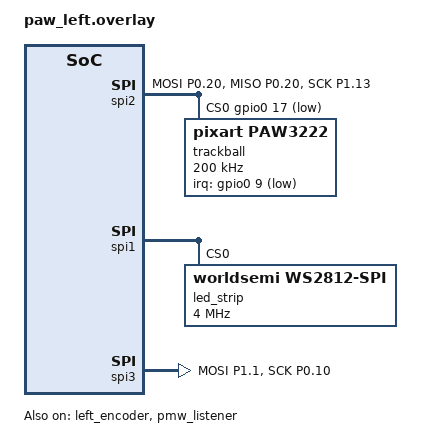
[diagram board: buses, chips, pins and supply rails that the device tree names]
/*
 * Copyright (c) 2020 ZMK Contributors
 *
 * SPDX-License-Identifier: MIT
 */
 
#include "paw.dtsi"
#include <dt-bindings/led/led.h>

/ { chosen {
	zmk,underglow = &led_strip;
};
};
&kscan0 {
	col-gpios
		= <&gpio0 22 (GPIO_ACTIVE_HIGH | GPIO_PULL_DOWN)>
		, <&gpio0 24 (GPIO_ACTIVE_HIGH | GPIO_PULL_DOWN)>
		, <&gpio1 00 (GPIO_ACTIVE_HIGH | GPIO_PULL_DOWN)>
		, <&gpio0 11 (GPIO_ACTIVE_HIGH | GPIO_PULL_DOWN)>
		, <&gpio1 04 (GPIO_ACTIVE_HIGH | GPIO_PULL_DOWN)>
		, <&gpio1 06 (GPIO_ACTIVE_HIGH | GPIO_PULL_DOWN)>
		;
};


&left_encoder {
    status = "okay";
};

&pinctrl {
    spi1_default: spi1_default {
				group1 {
						psels = <NRF_PSEL(SPIM_MOSI, 0, 21)>,
						<NRF_PSEL(SPIM_SCK, 0, 19)>;
				};
		};

    spi1_sleep: spi1_sleep {
				group1 {
						psels = <NRF_PSEL(SPIM_MOSI, 0, 21)>,
						<NRF_PSEL(SPIM_SCK, 0, 19)>;
						low-power-enable;
				};
		};
    spi2_default: spi2_default {
				group1 {
						psels = <NRF_PSEL(SPIM_MOSI, 0, 20)>,
						<NRF_PSEL(SPIM_MISO, 0, 20)>,
						<NRF_PSEL(SPIM_SCK, 1, 13)>;
				};
		};
	
    spi2_sleep: spi2_sleep {
				group1 {
						psels = <NRF_PSEL(SPIM_MOSI, 0, 20)>,
						<NRF_PSEL(SPIM_MISO, 0, 20)>,
						<NRF_PSEL(SPIM_SCK, 1, 13)>;
						low-power-enable;
				};
		};
    spi3_default: spi3_default {
				group1 {
						psels = <NRF_PSEL(SPIM_MOSI, 1, 1)>,
						<NRF_PSEL(SPIM_SCK, 0, 10)>;
				};
		};
	
    spi3_sleep: spi3_sleep {
				group1 {
						psels = <NRF_PSEL(SPIM_MOSI, 1, 1)>,
						<NRF_PSEL(SPIM_SCK, 0, 10)>;
						low-power-enable;
				};
		};
};

&spi2 {
		 status ="okay";
    compatible = "nordic,nrf-spim";
    pinctrl-0 = <&spi2_default>;
    pinctrl-1 = <&spi2_sleep>;
    pinctrl-names = "default", "sleep";
    cs-gpios = <&gpio0 17 GPIO_ACTIVE_LOW>;
		trackball: trackball@0 {
			status = "okay";
			compatible ="pixart,paw3222";
			reg = <0>;
			spi-max-frequency = <200000>;
			irq-gpios = <&gpio0 9 GPIO_ACTIVE_LOW>;
	};
};

&spi1 {
	compatible = "nordic,nrf-spim";
	status = "okay";
	pinctrl-1 = <&spi1_default>;
	pinctrl-1 = <&spi1_sleep>;
	pinctrl-names = "default", "sleep";

	led_strip: ws2812@0 {
				compatible ="worldsemi,ws2812-spi";
        /* SPI */
        reg = <0>; /* ignored, but necessary for SPI bindings */
        spi-max-frequency = <4000000>;

        /* WS2812 */
        chain-length = <28>; /* arbitrary; change at will */
        spi-one-frame = <0x70>;
        spi-zero-frame = <0x40>;

        color-mapping = <LED_COLOR_ID_GREEN LED_COLOR_ID_RED LED_COLOR_ID_BLUE>;
		};
};

nice_view_spi: &spi3 {
    compatible = "nordic,nrf-spim";
    pinctrl-0 = <&spi3_default>;
    pinctrl-1 = <&spi3_sleep>;
    pinctrl-names = "default", "sleep";
    cs-gpios = <&gpio1 11 (GPIO_ACTIVE_HIGH | GPIO_PULL_DOWN) >;
};

lpm_view_spi: &spi3 {
    compatible = "nordic,nrf-spim";
    pinctrl-0 = <&spi3_default>;
    pinctrl-1 = <&spi3_sleep>;
    pinctrl-names = "default", "sleep";
    cs-gpios = <&gpio1 11 (GPIO_ACTIVE_HIGH | GPIO_PULL_DOWN)>;
};

&pmw_listener{
	status = "okay";
};


&left_listener {
	device = <&trackball>;

// see https://zmk.dev/docs/keymaps/input-processors for more information
	// input-processors = <&zip_xy_transform (INPUT_TRANSFORM_XY_SWAP | INPUT_TRANSFORM_X_INVERT)>;
};
